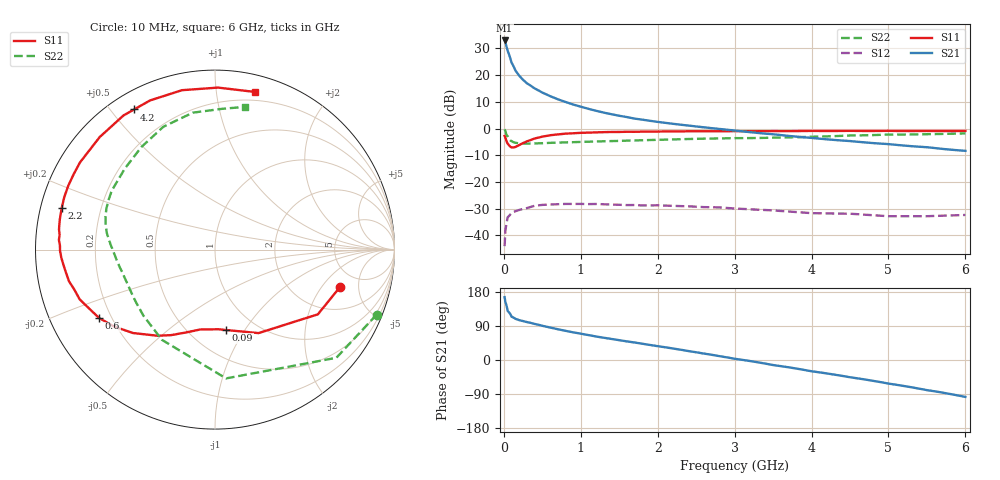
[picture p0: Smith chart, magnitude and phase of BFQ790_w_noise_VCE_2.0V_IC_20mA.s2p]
! (c) 2015  Infineon Technologies AG, Munich
! Infineon Technologies  Discrete & RF Semiconductors
! BFQ790
! VCE =  2.0 V,  IC =  20 mA
! Common Emitter S-Parameters:  May 2015
# GHz  S  MA  R  50
!  f  S11  S21  S12  S22
! GHz  MAG  ANG  MAG  ANG  MAG  ANG  MAG  ANG
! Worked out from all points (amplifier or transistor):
!   77 points, 10 MHz to 6 GHz, reference 50 ohm
!   highest |S21| = 33.0 dB at 10 MHz (marker M1)
!   |S21| within 3 dB of that: start of sweep to 41.18 MHz
!   unconditionally stable (mu >= 1): 2.113 GHz to end of sweep
!   at 130 MHz: K = 0.66, MSG = 27.1 dB, |S12| = -31.2 dB
!   at 2.2 GHz: K = 1.01, MAG = 14.6 dB, |S12| = -28.9 dB
!   at 6 GHz: K = 2.69, MAG = 4.8 dB, |S12| = -32.3 dB
!   lowest NFmin = 2.10 dB at 900 MHz
!   S11 on the Smith chart (normalised r, x): 10 MHz: 3.45, -3.07; 90 MHz: 0.74, -0.83; 600 MHz: 0.15, -0.27; 2.2 GHz: 0.06, +0.13; 4.2 GHz: 0.07, +0.58; 6 GHz: 0.13, +1.27
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0.01  0.7263 -16.8  44.56 165.9  0.0063 74.8  0.9708 -21.9
0.02  0.6771 -32.2  41.16 153.1  0.0124 65.9  0.9058 -41.7
0.05  0.5246 -62.5  28.43 129.3  0.0219 40.7  0.7203 -85.1
0.09  0.4526 -82.0  19.29 118.7  0.0253 27.9  0.5899 -112.4
0.1  0.4442 -87.6  17.18 114.3  0.0263 25.3  0.5832 -120.5
0.15  0.4525 -100.4  12.29 108.7  0.0284 22.2  0.5426 -137.3
0.2  0.4921 -109.9  9.737 105.2  0.03 20.0  0.5287 -146.7
0.25  0.5358 -117.2  8.151 102.7  0.0314 16.2  0.5241 -152.7
0.3  0.5764 -123.6  7.042 100.1  0.0325 14.4  0.5233 -157.0
0.4  0.6518 -134.5  5.648 95.2  0.0359 9.2  0.5272 -162.8
0.5  0.706 -142.5  4.717 90.3  0.0373 5.5  0.5329 -166.7
0.6  0.7496 -149.4  4.059 85.8  0.0379 3.1  0.5403 -169.7
0.8  0.8032 -159.8  3.153 77.1  0.0389 -4.9  0.5514 -174.1
1.1  0.8404 -171.3  2.34 65.7  0.0386 -12.4  0.5678 -179.3
1.5  0.8643 178.4  1.737 52.3  0.0375 -22.1  0.5875 175.9
2.1  0.8823 166.9  1.279 33.5  0.0362 -33.3  0.6208 168.1
2.2  0.8849 164.9  1.228 30.3  0.0358 -35.1  0.6265 166.6
3.1  0.893 144.8  0.887 0.4  0.0314 -51.3  0.6626 147.8
4.1  0.9025 122.1  0.648 -32.5  0.026 -62.2  0.7084 122.9
4.2  0.9015 120.0  0.629 -35.5  0.0259 -62.5  0.7148 120.3
5.1  0.9026 99.2  0.496 -65.3  0.0229 -68.8  0.7726 96.8
6  0.9058 75.9  0.383 -97.4  0.0242 -73.6  0.8126 78.2
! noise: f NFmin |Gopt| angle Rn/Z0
0.45  2.24  0.33  90  0.34
0.9  2.1  0.48  148  0.15
1.5  2.45  0.66  178  0.07
1.8  2.81  0.7  -175  0.07
2.6  3.89  0.76  -156  0.23
3.5  4.75  0.88  -138  0.78
